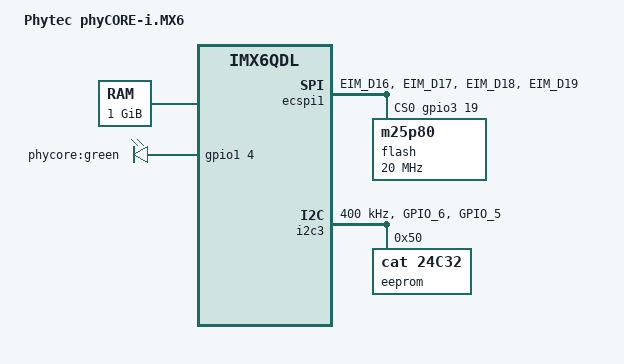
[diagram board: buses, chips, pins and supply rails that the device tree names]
/*
 * Copyright 2014 Christian Hemp, Phytec Messtechnik GmbH
 *
 * The code contained herein is licensed under the GNU General Public
 * License. You may obtain a copy of the GNU General Public License
 * Version 2 or later at the following locations:
 *
 * http://www.opensource.org/licenses/gpl-license.html
 * http://www.gnu.org/copyleft/gpl.html
 */

#include "imx6qdl.dtsi"
#include <dt-bindings/gpio/gpio.h>

/ {
	model = "Phytec phyCORE-i.MX6";
	compatible = "phytec,imx6qdl-pcm058", "fsl,imx6qdl";

        memory {
		reg = <0x10000000 0x40000000>;
	};

	gpio_leds_som: somleds {
		pinctrl-names = "default";
		pinctrl-0 = <&pinctrl_gpioleds_som>;
		compatible = "gpio-leds";

		som_green {
			label = "phycore:green";
			gpios = <&gpio1 4 0>;
			linux,default-trigger = "heartbeat";
		};
	};
};

&ecspi1 {
	pinctrl-names = "default";
	pinctrl-0 = <&pinctrl_ecspi1>;
	fsl,spi-num-chipselects = <1>;
	cs-gpios = <&gpio3 19 0>;
	status = "okay";

	flash: m25p80@0 {
		compatible = "m25p80";
		spi-max-frequency = <20000000>;
		reg = <0>;
	};
};


&gpmi {
	pinctrl-names = "default";
	pinctrl-0 = <&pinctrl_gpmi_nand>;
	nand-on-flash-bbt;
	status = "disabled";
};

&i2c3 {
	pinctrl-names = "default";
	pinctrl-0 = <&pinctrl_i2c3>;
	clock-frequency = <400000>;
	status = "okay";

	eeprom@50 {
		compatible = "cat,24c32";
		reg = <0x50>;
	};
};

&iomuxc {
	pinctrl-names = "default";
	pinctrl-0 = <&pinctrl_hog>;

	imx6q-phytec-phycore-som {
                pinctrl_enet: enetgrp {
                        fsl,pins = <
                                MX6QDL_PAD_ENET_MDIO__ENET_MDIO         0x1b0b0
                                MX6QDL_PAD_ENET_MDC__ENET_MDC           0x1b0b0
                                MX6QDL_PAD_RGMII_TXC__RGMII_TXC         0x1b0b0
                                MX6QDL_PAD_RGMII_TD0__RGMII_TD0         0x1b0b0
                                MX6QDL_PAD_RGMII_TD1__RGMII_TD1         0x1b0b0
                                MX6QDL_PAD_RGMII_TD2__RGMII_TD2         0x1b0b0
                                MX6QDL_PAD_RGMII_TD3__RGMII_TD3         0x1b0b0
                                MX6QDL_PAD_RGMII_TX_CTL__RGMII_TX_CTL   0x1b0b0
                                MX6QDL_PAD_ENET_REF_CLK__ENET_TX_CLK    0x1b0b0
                                MX6QDL_PAD_RGMII_RXC__RGMII_RXC         0x1b0b0
                                MX6QDL_PAD_RGMII_RD0__RGMII_RD0         0x1b0b0
                                MX6QDL_PAD_RGMII_RD1__RGMII_RD1         0x1b0b0
                                MX6QDL_PAD_RGMII_RD2__RGMII_RD2         0x1b0b0
                                MX6QDL_PAD_RGMII_RD3__RGMII_RD3         0x1b0b0
                                MX6QDL_PAD_RGMII_RX_CTL__RGMII_RX_CTL   0x1b0b0
                                MX6QDL_PAD_ENET_TX_EN__ENET_TX_EN       0x1b0b0
                                MX6QDL_PAD_SD2_DAT1__GPIO1_IO14         0x80000000
                        >;
                };

		pinctrl_gpioleds_som: gpioleds-somgrp {
			fsl,pins = <MX6QDL_PAD_GPIO_4__GPIO1_IO04	0x80000000>;
		};

		pinctrl_gpmi_nand: gpmigrp {
			fsl,pins = <
				MX6QDL_PAD_NANDF_CLE__NAND_CLE          0xb0b1
				MX6QDL_PAD_NANDF_ALE__NAND_ALE          0xb0b1
				MX6QDL_PAD_NANDF_WP_B__NAND_WP_B        0xb0b1
				MX6QDL_PAD_NANDF_RB0__NAND_READY_B      0xb000
				MX6QDL_PAD_NANDF_CS0__NAND_CE0_B        0xb0b1
				MX6QDL_PAD_NANDF_CS1__NAND_CE1_B        0xb0b1
				MX6QDL_PAD_NANDF_CS2__NAND_CE2_B	0xb0b1
				MX6QDL_PAD_NANDF_CS3__NAND_CE3_B	0xb0b1
				MX6QDL_PAD_SD4_CMD__NAND_RE_B           0xb0b1
				MX6QDL_PAD_SD4_CLK__NAND_WE_B           0xb0b1
				MX6QDL_PAD_NANDF_D0__NAND_DATA00        0xb0b1
				MX6QDL_PAD_NANDF_D1__NAND_DATA01        0xb0b1
				MX6QDL_PAD_NANDF_D2__NAND_DATA02        0xb0b1
				MX6QDL_PAD_NANDF_D3__NAND_DATA03        0xb0b1
				MX6QDL_PAD_NANDF_D4__NAND_DATA04        0xb0b1
				MX6QDL_PAD_NANDF_D5__NAND_DATA05        0xb0b1
				MX6QDL_PAD_NANDF_D6__NAND_DATA06        0xb0b1
				MX6QDL_PAD_NANDF_D7__NAND_DATA07        0xb0b1
				MX6QDL_PAD_SD4_DAT0__NAND_DQS           0x00b1
			>;
		};

		pinctrl_i2c3: i2c3grp {
			fsl,pins = <
				MX6QDL_PAD_GPIO_6__I2C3_SDA		0x4001b8b1
				MX6QDL_PAD_GPIO_5__I2C3_SCL		0x4001b8b1
			>;
		};

		pinctrl_ecspi1: ecspi1grp {
			fsl,pins = <
				MX6QDL_PAD_EIM_D16__ECSPI1_SCLK		0x100b1
				MX6QDL_PAD_EIM_D17__ECSPI1_MISO		0x100b1
				MX6QDL_PAD_EIM_D18__ECSPI1_MOSI		0x100b1
				MX6QDL_PAD_EIM_D19__GPIO3_IO19		0x80000000
			>;
		};

	};
};
